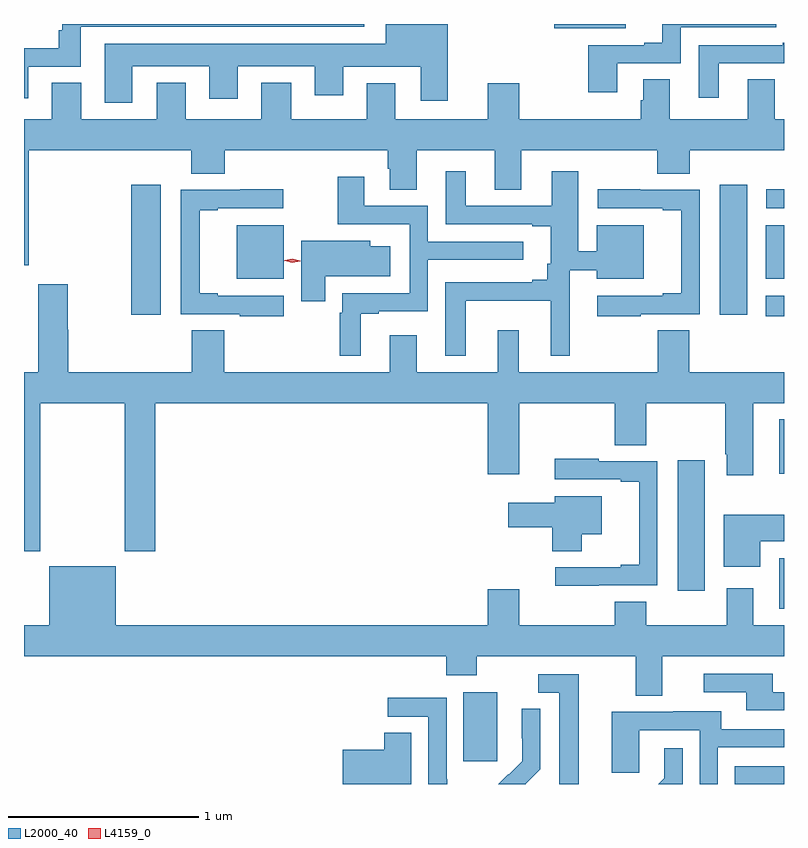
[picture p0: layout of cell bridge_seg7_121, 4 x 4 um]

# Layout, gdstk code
import gdstk
lib = gdstk.Library(unit=1e-6, precision=1e-09)
def R(c, l, rs):  # rectangles x0, y0, x1, y1
    for r in rs: c.add(gdstk.rectangle(r[:2], r[2:], *l))
def P(c, l, *ps):  # polygons
    for p in ps: c.add(gdstk.Polygon(p, *l))
L2000_40 = (2000, 40)
L4159_0 = (4159, 0)

bridge_seg7_121 = lib.new_cell('bridge_seg7_121')
R(bridge_seg7_121, L2000_40, [(801.672,1005.272,801.93,1005.366), (800.243,1005.393,800.422,1005.754), (801.905,1006.194,801.93,1006.461), (801.371,1006.29,801.514,1006.975), (801.905,1006.904,801.93,1007.191), (801.834,1007.733,801.93,1007.841), (798.494,1007.742,798.649,1008.427), (801.593,1007.742,801.736,1008.427), (799.049,1007.93,799.297,1008.214), (801.833,1007.93,801.93,1008.214), (801.837,1008.303,801.93,1008.401), (800.72,1009.25,801.097,1009.272)])
P(bridge_seg7_121, L2000_40, [(801.052,1009.065),(801.387,1009.065),(801.387,1009.254),(801.889,1009.254),(801.889,1009.272),(801.29,1009.272),(801.29,1009.174),(801.194,1009.174),(801.194,1009.161),(800.9,1009.161),(800.9,1008.912),(801.052,1008.912)],
  [(798.499,1009.049),(798.905,1009.049),(798.905,1008.879),(799.054,1008.879),(799.054,1009.049),(799.46,1009.049),(799.46,1008.897),(799.609,1008.897),(799.609,1009.046),(800.018,1009.046),(800.018,1008.867),(800.161,1008.867),(800.161,1009.272),(799.835,1009.272),(799.835,1009.168),(798.356,1009.168),(798.356,1008.857),(798.499,1008.857)],
  [(797.953,1009.047),(798.228,1009.047),(798.228,1009.257),(799.72,1009.257),(799.72,1009.272),(798.131,1009.272),(798.131,1009.24),(798.112,1009.24),(798.112,1009.144),(797.93,1009.144),(797.93,1008.882),(797.953,1008.882)],
  [(801.586,1009.065),(801.93,1009.065),(801.93,1009.174),(801.923,1009.174),(801.923,1009.161),(801.482,1009.161),(801.482,1008.885),(801.586,1008.885)],
  [(797.956,1008.608),(798.809,1008.608),(798.809,1008.484),(798.986,1008.484),(798.986,1008.608),(799.844,1008.608),(799.844,1008.51),(799.856,1008.51),(799.856,1008.4),(799.996,1008.4),(799.996,1008.608),(800.408,1008.608),(800.408,1008.4),(800.548,1008.4),(800.548,1008.608),(801.262,1008.608),(801.262,1008.484),(801.434,1008.484),(801.434,1008.608),(801.93,1008.608),(801.93,1008.772),(801.88,1008.772),(801.88,1008.98),(801.74,1008.98),(801.74,1008.772),(801.328,1008.772),(801.328,1008.98),(801.188,1008.98),(801.188,1008.87),(801.176,1008.87),(801.176,1008.772),(800.536,1008.772),(800.536,1008.961),(800.372,1008.961),(800.372,1008.772),(799.885,1008.772),(799.885,1008.961),(799.733,1008.961),(799.733,1008.772),(799.336,1008.772),(799.336,1008.964),(799.178,1008.964),(799.178,1008.772),(798.781,1008.772),(798.781,1008.964),(798.629,1008.964),(798.629,1008.772),(798.232,1008.772),(798.232,1008.962),(798.077,1008.962),(798.077,1008.772),(797.93,1008.772),(797.93,1008.002),(797.956,1008.002)],
  [(800.254,1007.816),(800.702,1007.816),(800.702,1007.525),(800.803,1007.525),(800.803,1007.975),(800.945,1007.975),(800.945,1007.93),(801.193,1007.93),(801.193,1008.214),(800.945,1008.214),(800.945,1008.075),(800.848,1008.075),(800.848,1008.496),(800.708,1008.496),(800.708,1008.315),(800.254,1008.315),(800.254,1008.496),(800.15,1008.496),(800.15,1008.219),(800.606,1008.219),(800.606,1008.207),(800.702,1008.207),(800.702,1008.01),(800.685,1008.01),(800.685,1007.926),(800.606,1007.926),(800.606,1007.913),(800.147,1007.913),(800.147,1007.525),(800.254,1007.525)],
  [(799.702,1007.748),(799.798,1007.748),(799.798,1007.76),(800.055,1007.76),(800.055,1008.03),(800.557,1008.03),(800.557,1008.126),(800.055,1008.126),(800.055,1008.315),(799.72,1008.315),(799.72,1008.469),(799.58,1008.469),(799.58,1008.219),(799.959,1008.219),(799.959,1007.856),(799.605,1007.856),(799.605,1007.753),(799.593,1007.753),(799.593,1007.525),(799.702,1007.525)],
  [(799.297,1007.841),(798.949,1007.841),(798.949,1007.854),(798.854,1007.854),(798.854,1008.291),(798.949,1008.291),(798.949,1008.303),(799.294,1008.303),(799.294,1008.401),(799.069,1008.401),(799.069,1008.399),(798.756,1008.399),(798.756,1007.745),(799.066,1007.745),(799.066,1007.733),(799.297,1007.733)],
  [(801.176,1007.745),(801.486,1007.745),(801.486,1008.399),(801.173,1008.399),(801.173,1008.401),(800.949,1008.401),(800.949,1008.303),(801.293,1008.303),(801.293,1008.291),(801.389,1008.291),(801.389,1007.854),(801.293,1007.854),(801.293,1007.841),(800.946,1007.841),(800.946,1007.733),(801.176,1007.733)],
  [(799.516,1007.945),(799.858,1007.945),(799.858,1008.103),(799.752,1008.103),(799.752,1008.13),(799.388,1008.13),(799.388,1007.814),(799.516,1007.814)],
  [(798.015,1007.276),(798.46,1007.276),(798.46,1006.497),(798.62,1006.497),(798.62,1007.276),(800.372,1007.276),(800.372,1006.902),(800.536,1006.902),(800.536,1007.276),(801.038,1007.276),(801.038,1007.056),(801.204,1007.056),(801.204,1007.276),(801.622,1007.276),(801.622,1007.008),(801.629,1007.008),(801.629,1006.896),(801.769,1006.896),(801.769,1007.276),(801.93,1007.276),(801.93,1007.44),(801.431,1007.44),(801.431,1007.66),(801.265,1007.66),(801.265,1007.44),(800.533,1007.44),(800.533,1007.659),(800.423,1007.659),(800.423,1007.44),(799.996,1007.44),(799.996,1007.635),(799.856,1007.635),(799.856,1007.44),(798.983,1007.44),(798.983,1007.66),(798.812,1007.66),(798.812,1007.44),(798.164,1007.44),(798.164,1007.663),(798.159,1007.663),(798.159,1007.902),(798.004,1007.902),(798.004,1007.44),(797.93,1007.44),(797.93,1006.497),(798.015,1006.497)],
  [(800.954,1006.317),(801.264,1006.317),(801.264,1006.971),(800.954,1006.971),(800.954,1006.984),(800.724,1006.984),(800.724,1006.875),(801.071,1006.875),(801.071,1006.863),(801.167,1006.863),(801.167,1006.426),(801.071,1006.426),(801.071,1006.413),(800.727,1006.413),(800.727,1006.316),(800.954,1006.316)],
  [(800.865,1006.586),(800.971,1006.586),(800.971,1006.786),(800.723,1006.786),(800.723,1006.753),(800.478,1006.753),(800.478,1006.624),(800.711,1006.624),(800.711,1006.498),(800.865,1006.498)],
  [(801.805,1006.55),(801.93,1006.55),(801.93,1006.69),(801.614,1006.69),(801.614,1006.415),(801.805,1006.415)],
  [(801.289,1005.944),(801.93,1005.944),(801.93,1006.108),(801.769,1006.108),(801.769,1006.303),(801.629,1006.303),(801.629,1006.108),(801.204,1006.108),(801.204,1006.232),(801.038,1006.232),(801.038,1006.108),(800.536,1006.108),(800.536,1006.297),(800.372,1006.297),(800.372,1006.108),(798.412,1006.108),(798.412,1006.417),(798.062,1006.417),(798.062,1006.108),(797.93,1006.108),(797.93,1005.944),(800.153,1005.944),(800.153,1005.845),(800.313,1005.845),(800.313,1005.944),(801.149,1005.944),(801.149,1005.736),(801.289,1005.736)],
  [(801.93,1005.756),(801.871,1005.756),(801.871,1005.852),(801.507,1005.852),(801.507,1005.756),(801.731,1005.756),(801.731,1005.66),(801.93,1005.66)],
  [(800.851,1005.849),(800.637,1005.849),(800.637,1005.753),(800.747,1005.753),(800.747,1005.272),(800.851,1005.272)],
  [(800.157,1005.296),(800.154,1005.296),(800.154,1005.726),(799.845,1005.726),(799.845,1005.627),(800.058,1005.627),(800.058,1005.272),(800.157,1005.272)],
  [(800.574,1005.276),(800.573,1005.277),(800.646,1005.35),(800.646,1005.668),(800.55,1005.668),(800.55,1005.514),(800.552,1005.514),(800.552,1005.392),(800.481,1005.321),(800.478,1005.324),(800.426,1005.272),(800.57,1005.272)],
  [(801.582,1005.465),(801.93,1005.465),(801.93,1005.561),(801.601,1005.561),(801.601,1005.655),(801.347,1005.655),(801.347,1005.651),(801.023,1005.651),(801.023,1005.331),(801.168,1005.331),(801.168,1005.555),(801.486,1005.555),(801.486,1005.272),(801.582,1005.272)],
  [(799.969,1005.542),(799.826,1005.542),(799.826,1005.452),(799.608,1005.452),(799.608,1005.272),(799.969,1005.272)],
  [(801.396,1005.46),(801.299,1005.46),(801.299,1005.303),(801.268,1005.272),(801.396,1005.272)])
P(bridge_seg7_121, L4159_0, [(799.342,1008.016),(799.302,1008.027),(799.301,1008.027),(799.302,1008.028),(799.343,1008.036),(799.384,1008.025),(799.384,1008.025),(799.384,1008.024)])

lib.write_gds('bridge_seg7_121.gds')
